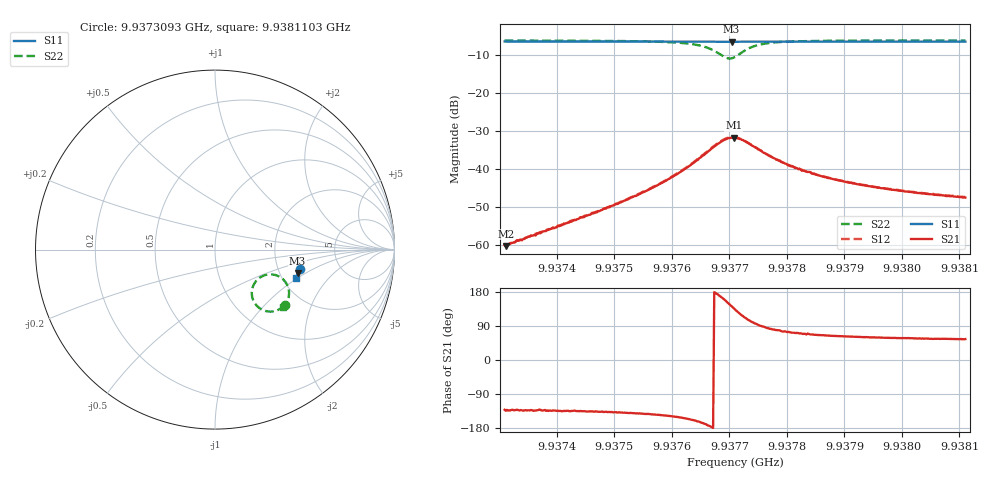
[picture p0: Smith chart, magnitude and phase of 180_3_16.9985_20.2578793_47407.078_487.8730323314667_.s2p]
#  HZ  S  RI  R  50.00
! Rohde & Schwarz Vector Network Analyzer
! Rohde-Schwarz,ZNB20-2Port,1311601062101988,3.16
! Created: UTC 3/20/2024, 11:00:08 PM
! freq[Hz]  re:S11  im:S11  re:S21  im:S21  re:S12  im:S12  re:S22  im:S22
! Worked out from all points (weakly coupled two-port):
!   401 points, 9.9373093 GHz to 9.9381103 GHz, reference 50 ohm
!   highest |S21| = -31.63 dB at 9.9377078 GHz (marker M1); lowest = -60.2 dB at 9.9373113 GHz (marker M2)
!   lowest |S11| = -6.4 dB at 9.9377038 GHz (marker M3), VSWR 2.84, Z = 125 - j42.6 ohm
!   |S11| at or under -10 dB: nowhere
!   |S22| runs from -10.8 to -6.0 dB; largest |S21 - S12| = 0.0012
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9.93730935e9  0.4716 -0.107  -0.000664 -0.000753  -0.000697 -0.000728  0.388 -0.3113
9.93731135e9  0.4714 -0.1072  -0.000679 -0.000705  -0.000656 -0.000721  0.388 -0.3115
9.93744351e9  0.4688 -0.1162  -0.00166 -0.00165  -0.0017 -0.00161  0.3729 -0.3239
9.93750759e9  0.4673 -0.1205  -0.00265 -0.0024  -0.00274 -0.00238  0.3605 -0.3318
9.93757768e9  0.4655 -0.1253  -0.00521 -0.00365  -0.00531 -0.00364  0.3357 -0.3418
9.93761973e9  0.4639 -0.1282  -0.00872 -0.00441  -0.00897 -0.00438  0.3042 -0.3452
9.93765778e9  0.4623 -0.1308  -0.0156 -0.00304  -0.0162 -0.0029  0.2482 -0.3262
9.9376718e9  0.4616 -0.1313  -0.0194 -0.000277  -0.02 0.000238  0.2213 -0.2978
9.93768582e9  0.4609 -0.1317  -0.0226 0.0054  -0.0229 0.00636  0.205 -0.2468
9.93769583e9  0.4605 -0.1316  -0.0224 0.0115  -0.0227 0.0124  0.2137 -0.1999
9.93770384e9  0.4603 -0.1315  -0.0206 0.016  -0.0204 0.0172  0.2373 -0.166
9.93770784e9  0.4605 -0.1316  -0.0189 0.0182  -0.0184 0.0191  0.2541 -0.1534
9.93770985e9  0.4604 -0.1316  -0.018 0.019  -0.0174 0.0199  0.2632 -0.1485
9.93771986e9  0.4608 -0.1318  -0.0126 0.0217  -0.0119 0.0222  0.3097 -0.1379
9.93773388e9  0.4613 -0.1326  -0.00571 0.0212  -0.00512 0.0214  0.3616 -0.1523
9.9377559e9  0.4617 -0.1344  0.000117 0.0175  0.000699 0.0174  0.4003 -0.1928
9.93777793e9  0.4614 -0.1362  0.00237 0.0138  0.00277 0.0138  0.4113 -0.2249
9.93780396e9  0.4609 -0.1381  0.00315 0.0108  0.00355 0.0108  0.4124 -0.2503
9.93784401e9  0.4601 -0.1411  0.00334 0.00812  0.00361 0.00813  0.408 -0.2735
9.93790409e9  0.4585 -0.1452  0.00319 0.006  0.00334 0.00601  0.4002 -0.2927
9.93797818e9  0.4567 -0.1501  0.00285 0.00468  0.00294 0.00466  0.392 -0.3063
9.93811035e9  0.4533 -0.1587  0.00242 0.00349  0.00252 0.00349  0.3809 -0.3214
